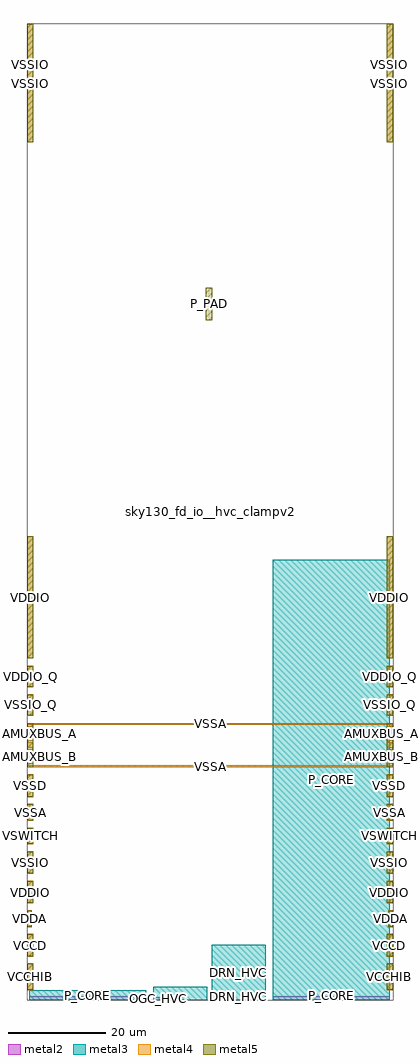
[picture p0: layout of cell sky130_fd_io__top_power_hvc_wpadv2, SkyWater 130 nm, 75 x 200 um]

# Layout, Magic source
magic
tech sky130A
magscale 1 2
<< metal2 >>
rect 99 0 4879 148
rect 5179 0 5579 107
rect 10078 0 14858 148
<< metal3 >>
rect 99 0 4879 391
rect 5179 0 7379 545
rect 7578 0 9778 2266
rect 10078 0 14858 18037
<< metal4 >>
rect 0 35157 254 40000
rect 14746 35157 15000 40000
rect 0 14007 254 19000
rect 14746 14007 15000 19000
rect 0 12817 254 13707
rect 14746 12817 15000 13707
rect 0 11647 254 12537
rect 14746 11647 15000 12537
rect 0 11281 15000 11347
rect 0 10625 254 11221
rect 14746 10625 15000 11221
rect 0 10329 254 10565
rect 14746 10329 15000 10565
rect 0 9673 254 10269
rect 14746 9673 15000 10269
rect 0 9547 15000 9613
rect 0 8317 254 9247
rect 14746 8317 15000 9247
rect 0 7347 254 8037
rect 14746 7347 15000 8037
rect 0 6377 254 7067
rect 14746 6377 15000 7067
rect 0 5167 254 6097
rect 14746 5167 15000 6097
rect 0 3957 254 4887
rect 14746 3957 15000 4887
rect 0 2987 193 3677
rect 14807 2987 15000 3677
rect 0 1777 254 2707
rect 14746 1777 15000 2707
rect 0 407 254 1497
rect 14746 407 15000 1497
<< metal5 >>
rect 0 35157 254 40000
rect 14746 35157 15000 40000
rect 7329 27865 7594 29187
rect 0 14007 254 18997
rect 14746 14007 15000 18997
rect 0 12837 254 13687
rect 14746 12837 15000 13687
rect 0 11667 254 12517
rect 14746 11667 15000 12517
rect 0 9547 254 11347
rect 14746 9547 15000 11347
rect 0 8337 254 9227
rect 14746 8337 15000 9227
rect 0 7368 254 8017
rect 14746 7368 15000 8017
rect 0 6397 254 7047
rect 14746 6397 15000 7047
rect 0 5187 254 6077
rect 14746 5187 15000 6077
rect 0 3977 254 4867
rect 14746 3977 15000 4867
rect 0 3007 193 3657
rect 14807 3007 15000 3657
rect 0 1797 254 2687
rect 14746 1797 15000 2687
rect 0 427 254 1477
rect 14746 427 15000 1477
use sky130_fd_io__hvc_clampv2  sky130_fd_io__hvc_clampv2_0
transform 1 0 0 0 1 0
box 0 0 15000 40000
<< labels >>
flabel metal3 s 99 0 4879 391 0 FreeSans 2000 0 0 0 P_CORE
port 1 nsew default bidirectional
flabel metal3 s 7578 0 9778 318 0 FreeSans 2000 0 0 0 DRN_HVC
port 2 nsew default bidirectional
flabel metal3 s 10078 0 14858 391 0 FreeSans 2000 0 0 0 P_CORE
port 1 nsew default bidirectional
flabel metal3 s 5179 0 7379 148 2 FreeSans 2000 90 0 0 SRC_BDY_HVC
port 3 nsew default bidirectional
flabel metal2 s 10078 0 14858 148 2 FreeSans 2000 90 0 0 DRN_HVC
port 2 nsew default bidirectional
flabel metal2 s 99 0 4879 148 2 FreeSans 2000 90 0 0 SRC_BDY_HVC
port 3 nsew default bidirectional
flabel metal2 s 5179 0 5579 107 2 FreeSans 1000 90 0 0 OGC_HVC
port 4 nsew default bidirectional
flabel metal4 s 0 7347 254 8037 3 FreeSans 520 0 0 0 VSSA
port 5 nsew default bidirectional
flabel metal4 s 0 8317 254 9247 3 FreeSans 520 0 0 0 VSSD
port 6 nsew default bidirectional
flabel metal4 s 0 9673 254 10269 3 FreeSans 520 0 0 0 AMUXBUS_B
port 7 nsew default bidirectional
flabel metal4 s 0 10625 254 11221 3 FreeSans 520 0 0 0 AMUXBUS_A
port 8 nsew default bidirectional
flabel metal4 s 0 12817 254 13707 3 FreeSans 520 0 0 0 VDDIO_Q
port 9 nsew default bidirectional
flabel metal4 s 0 14007 254 19000 3 FreeSans 520 0 0 0 VDDIO
port 10 nsew default bidirectional
flabel metal4 s 0 6377 254 7067 3 FreeSans 520 0 0 0 VSWITCH
port 11 nsew default bidirectional
flabel metal4 s 0 5167 254 6097 3 FreeSans 520 0 0 0 VSSIO
port 12 nsew default bidirectional
flabel metal4 s 0 3957 254 4887 3 FreeSans 520 0 0 0 VDDIO
port 10 nsew default bidirectional
flabel metal4 s 0 2987 193 3677 3 FreeSans 520 0 0 0 VDDA
port 13 nsew default bidirectional
flabel metal4 s 0 1777 254 2707 3 FreeSans 520 0 0 0 VCCD
port 14 nsew default bidirectional
flabel metal4 s 0 407 254 1497 3 FreeSans 520 0 0 0 VCCHIB
port 15 nsew default bidirectional
flabel metal4 s 0 11281 254 11347 3 FreeSans 520 0 0 0 VSSA
port 5 nsew default bidirectional
flabel metal4 s 0 11647 254 12537 3 FreeSans 520 0 0 0 VSSIO_Q
port 16 nsew default bidirectional
flabel metal4 s 0 9547 254 9613 3 FreeSans 520 0 0 0 VSSA
port 5 nsew default bidirectional
flabel metal4 s 0 10329 254 10565 3 FreeSans 520 0 0 0 VSSA
port 5 nsew default bidirectional
flabel metal4 s 14746 7347 15000 8037 3 FreeSans 520 180 0 0 VSSA
port 5 nsew default bidirectional
flabel metal4 s 14746 8317 15000 9247 3 FreeSans 520 180 0 0 VSSD
port 6 nsew default bidirectional
flabel metal4 s 14746 9673 15000 10269 3 FreeSans 520 180 0 0 AMUXBUS_B
port 7 nsew default bidirectional
flabel metal4 s 14746 10625 15000 11221 3 FreeSans 520 180 0 0 AMUXBUS_A
port 8 nsew default bidirectional
flabel metal4 s 14746 12817 15000 13707 3 FreeSans 520 180 0 0 VDDIO_Q
port 9 nsew default bidirectional
flabel metal4 s 14746 14007 15000 19000 3 FreeSans 520 180 0 0 VDDIO
port 10 nsew default bidirectional
flabel metal4 s 14746 6377 15000 7067 3 FreeSans 520 180 0 0 VSWITCH
port 11 nsew default bidirectional
flabel metal4 s 14746 5167 15000 6097 3 FreeSans 520 180 0 0 VSSIO
port 12 nsew default bidirectional
flabel metal4 s 14746 3957 15000 4887 3 FreeSans 520 180 0 0 VDDIO
port 10 nsew default bidirectional
flabel metal4 s 14807 2987 15000 3677 3 FreeSans 520 180 0 0 VDDA
port 13 nsew default bidirectional
flabel metal4 s 14746 1777 15000 2707 3 FreeSans 520 180 0 0 VCCD
port 14 nsew default bidirectional
flabel metal4 s 14746 407 15000 1497 3 FreeSans 520 180 0 0 VCCHIB
port 15 nsew default bidirectional
flabel metal4 s 14746 11281 15000 11347 3 FreeSans 520 180 0 0 VSSA
port 5 nsew default bidirectional
flabel metal4 s 14746 11647 15000 12537 3 FreeSans 520 180 0 0 VSSIO_Q
port 16 nsew default bidirectional
flabel metal4 s 14746 9547 15000 9613 3 FreeSans 520 180 0 0 VSSA
port 5 nsew default bidirectional
flabel metal4 s 0 35157 254 40000 3 FreeSans 520 0 0 0 VSSIO
port 12 nsew default bidirectional
flabel metal4 s 127 38321 127 38321 3 FreeSans 520 0 0 0 VSSIO
port 12 nsew
flabel metal4 s 14746 35157 15000 40000 3 FreeSans 520 180 0 0 VSSIO
port 12 nsew default bidirectional
flabel metal4 s 14873 38321 14873 38321 3 FreeSans 520 180 0 0 VSSIO
port 12 nsew
flabel metal4 s 14746 10329 15000 10565 3 FreeSans 520 180 0 0 VSSA
port 5 nsew default bidirectional
flabel metal5 s 7329 27865 7594 29187 0 FreeSans 2000 0 0 0 P_PAD
port 17 nsew default bidirectional
flabel metal5 s 14746 5187 15000 6077 3 FreeSans 520 180 0 0 VSSIO
port 12 nsew default bidirectional
flabel metal5 s 14746 35157 15000 40000 3 FreeSans 520 180 0 0 VSSIO
port 12 nsew default bidirectional
flabel metal5 s 14746 12837 15000 13687 3 FreeSans 520 180 0 0 VDDIO_Q
port 9 nsew default bidirectional
flabel metal5 s 14746 11667 15000 12517 3 FreeSans 520 180 0 0 VSSIO_Q
port 16 nsew default bidirectional
flabel metal5 s 14746 6397 15000 7047 3 FreeSans 520 180 0 0 VSWITCH
port 11 nsew default bidirectional
flabel metal5 s 14746 7368 15000 8017 3 FreeSans 520 180 0 0 VSSA
port 5 nsew default bidirectional
flabel metal5 s 0 35157 254 40000 3 FreeSans 520 0 0 0 VSSIO
port 12 nsew default bidirectional
flabel metal5 s 0 9547 254 11347 3 FreeSans 520 0 0 0 VSSA
port 5 nsew default bidirectional
flabel metal5 s 0 3977 254 4867 3 FreeSans 520 0 0 0 VDDIO
port 10 nsew default bidirectional
flabel metal5 s 0 1797 254 2687 3 FreeSans 520 0 0 0 VCCD
port 14 nsew default bidirectional
flabel metal5 s 0 427 254 1477 3 FreeSans 520 0 0 0 VCCHIB
port 15 nsew default bidirectional
flabel metal5 s 0 3007 193 3657 3 FreeSans 520 0 0 0 VDDA
port 13 nsew default bidirectional
flabel metal5 s 0 14007 254 18997 3 FreeSans 520 0 0 0 VDDIO
port 10 nsew default bidirectional
flabel metal5 s 0 12837 254 13687 3 FreeSans 520 0 0 0 VDDIO_Q
port 9 nsew default bidirectional
flabel metal5 s 0 7368 254 8017 3 FreeSans 520 0 0 0 VSSA
port 5 nsew default bidirectional
flabel metal5 s 0 8337 254 9227 3 FreeSans 520 0 0 0 VSSD
port 6 nsew default bidirectional
flabel metal5 s 0 5187 254 6077 3 FreeSans 520 0 0 0 VSSIO
port 12 nsew default bidirectional
flabel metal5 s 0 6397 254 7047 3 FreeSans 520 0 0 0 VSWITCH
port 11 nsew default bidirectional
flabel metal5 s 0 11667 254 12517 3 FreeSans 520 0 0 0 VSSIO_Q
port 16 nsew default bidirectional
flabel metal5 s 14746 9547 15000 11347 3 FreeSans 520 180 0 0 VSSA
port 5 nsew default bidirectional
flabel metal5 s 14746 3977 15000 4867 3 FreeSans 520 180 0 0 VDDIO
port 10 nsew default bidirectional
flabel metal5 s 14746 1797 15000 2687 3 FreeSans 520 180 0 0 VCCD
port 14 nsew default bidirectional
flabel metal5 s 14746 427 15000 1477 3 FreeSans 520 180 0 0 VCCHIB
port 15 nsew default bidirectional
flabel metal5 s 14807 3007 15000 3657 3 FreeSans 520 180 0 0 VDDA
port 13 nsew default bidirectional
flabel metal5 s 14746 14007 15000 18997 3 FreeSans 520 180 0 0 VDDIO
port 10 nsew default bidirectional
flabel metal5 s 14746 8337 15000 9227 3 FreeSans 520 180 0 0 VSSD
port 6 nsew default bidirectional
rlabel metal4 s 14746 10625 15000 11221 1 AMUXBUS_A
port 8 nsew default bidirectional
rlabel metal4 s 14746 9673 15000 10269 1 AMUXBUS_B
port 7 nsew default bidirectional
rlabel metal3 s 7578 0 9778 2266 1 DRN_HVC
port 2 nsew default bidirectional
rlabel metal3 s 10078 0 14858 18037 1 P_CORE
port 1 nsew default bidirectional
rlabel metal3 s 5179 0 7379 545 1 SRC_BDY_HVC
port 3 nsew default bidirectional
rlabel metal4 s 14746 1777 15000 2707 1 VCCD
port 14 nsew default bidirectional
rlabel metal5 s 0 1797 254 2687 1 VCCD
port 14 nsew default bidirectional
rlabel metal5 s 14746 1797 15000 2687 1 VCCD
port 14 nsew default bidirectional
rlabel metal4 s 14746 407 15000 1497 1 VCCHIB
port 15 nsew default bidirectional
rlabel metal5 s 0 427 254 1477 1 VCCHIB
port 15 nsew default bidirectional
rlabel metal5 s 14746 427 15000 1477 1 VCCHIB
port 15 nsew default bidirectional
rlabel metal4 s 14807 2987 15000 3677 1 VDDA
port 13 nsew default bidirectional
rlabel metal5 s 0 3007 193 3657 1 VDDA
port 13 nsew default bidirectional
rlabel metal5 s 14807 3007 15000 3657 1 VDDA
port 13 nsew default bidirectional
rlabel metal4 s 0 14007 254 19000 1 VDDIO
port 10 nsew default bidirectional
rlabel metal4 s 14746 3957 15000 4887 1 VDDIO
port 10 nsew default bidirectional
rlabel metal4 s 14746 14007 15000 19000 1 VDDIO
port 10 nsew default bidirectional
rlabel metal5 s 0 3977 254 4867 1 VDDIO
port 10 nsew default bidirectional
rlabel metal5 s 0 14007 254 18997 1 VDDIO
port 10 nsew default bidirectional
rlabel metal5 s 14746 3977 15000 4867 1 VDDIO
port 10 nsew default bidirectional
rlabel metal5 s 14746 14007 15000 18997 1 VDDIO
port 10 nsew default bidirectional
rlabel metal4 s 14746 12817 15000 13707 1 VDDIO_Q
port 9 nsew default bidirectional
rlabel metal5 s 0 12837 254 13687 1 VDDIO_Q
port 9 nsew default bidirectional
rlabel metal5 s 14746 12837 15000 13687 1 VDDIO_Q
port 9 nsew default bidirectional
rlabel metal4 s 0 9547 15000 9613 1 VSSA
port 5 nsew default bidirectional
rlabel metal4 s 0 10329 254 10565 1 VSSA
port 5 nsew default bidirectional
rlabel metal4 s 0 11281 15000 11347 1 VSSA
port 5 nsew default bidirectional
rlabel metal4 s 14746 7347 15000 8037 1 VSSA
port 5 nsew default bidirectional
rlabel metal4 s 14746 9547 15000 9613 1 VSSA
port 5 nsew default bidirectional
rlabel metal4 s 14746 10329 15000 10565 1 VSSA
port 5 nsew default bidirectional
rlabel metal4 s 14746 11281 15000 11347 1 VSSA
port 5 nsew default bidirectional
rlabel metal5 s 0 7368 254 8017 1 VSSA
port 5 nsew default bidirectional
rlabel metal5 s 0 9547 254 11347 1 VSSA
port 5 nsew default bidirectional
rlabel metal5 s 14746 7368 15000 8017 1 VSSA
port 5 nsew default bidirectional
rlabel metal5 s 14746 9547 15000 11347 1 VSSA
port 5 nsew default bidirectional
rlabel metal4 s 14746 8317 15000 9247 1 VSSD
port 6 nsew default bidirectional
rlabel metal5 s 0 8337 254 9227 1 VSSD
port 6 nsew default bidirectional
rlabel metal5 s 14746 8337 15000 9227 1 VSSD
port 6 nsew default bidirectional
rlabel metal4 s 14746 35157 15000 40000 1 VSSIO
port 12 nsew default bidirectional
rlabel metal4 s 14746 5167 15000 6097 1 VSSIO
port 12 nsew default bidirectional
rlabel metal4 s 14872 38320 14874 38322 1 VSSIO
port 12 nsew default bidirectional
rlabel metal5 s 0 35157 254 40000 1 VSSIO
port 12 nsew default bidirectional
rlabel metal5 s 0 5187 254 6077 1 VSSIO
port 12 nsew default bidirectional
rlabel metal5 s 14746 35157 15000 40000 1 VSSIO
port 12 nsew default bidirectional
rlabel metal5 s 14746 5187 15000 6077 1 VSSIO
port 12 nsew default bidirectional
rlabel metal4 s 14746 11647 15000 12537 1 VSSIO_Q
port 16 nsew default bidirectional
rlabel metal5 s 0 11667 254 12517 1 VSSIO_Q
port 16 nsew default bidirectional
rlabel metal5 s 14746 11667 15000 12517 1 VSSIO_Q
port 16 nsew default bidirectional
rlabel metal4 s 14746 6377 15000 7067 1 VSWITCH
port 11 nsew default bidirectional
rlabel metal5 s 0 6397 254 7047 1 VSWITCH
port 11 nsew default bidirectional
rlabel metal5 s 14746 6397 15000 7047 1 VSWITCH
port 11 nsew default bidirectional
<< properties >>
string LEFclass BLOCK
string FIXED_BBOX 0 0 15000 40000
string GDS_FILE $PDKPATH/libs.ref/sky130_fd_io/gds/sky130_fd_io.gds
string GDS_END 30499890
string GDS_START 30490414
<< end >>
